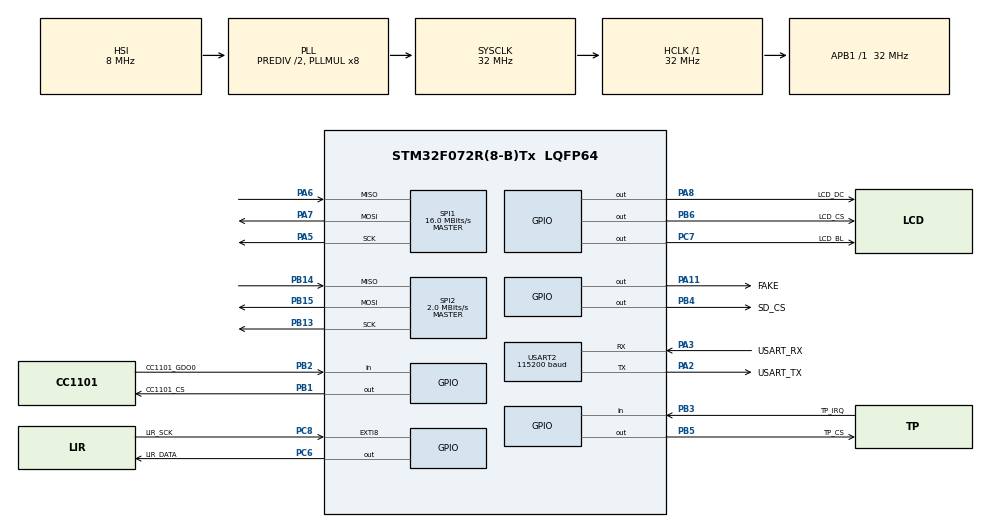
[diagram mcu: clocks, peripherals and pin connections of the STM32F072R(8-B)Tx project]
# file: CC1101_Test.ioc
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Mcu.Family=STM32F0
Mcu.Name=STM32F072R(8-B)Tx
Mcu.Package=LQFP64
NVIC.EXTI4_15_IRQn=true\:0\:0\:false\:false\:true\:true\:true
PA11.GPIO_Label=FAKE
PA11.PinState=GPIO_PIN_SET
PA11.Signal=GPIO_Output
PA13.GPIO_Label=TMS
PA13.Mode=Serial_Wire
PA13.Signal=SYS_SWDIO
PA14.GPIO_Label=TCK
PA14.Mode=Serial_Wire
PA14.Signal=SYS_SWCLK
PA2.GPIO_Label=USART_TX
PA2.GPIO_Mode=GPIO_MODE_AF_PP
PA2.GPIO_PuPd=GPIO_NOPULL
PA2.GPIO_Speed=GPIO_SPEED_FREQ_LOW
PA2.Mode=Asynchronous
PA2.Signal=USART2_TX
PA3.GPIO_Label=USART_RX
PA3.GPIO_Mode=GPIO_MODE_AF_PP
PA3.GPIO_PuPd=GPIO_NOPULL
PA3.GPIO_Speed=GPIO_SPEED_FREQ_LOW
PA3.Mode=Asynchronous
PA3.Signal=USART2_RX
PA5.Mode=Full_Duplex_Master
PA5.Signal=SPI1_SCK
PA6.Mode=Full_Duplex_Master
PA6.Signal=SPI1_MISO
PA7.Mode=Full_Duplex_Master
PA7.Signal=SPI1_MOSI
PA8.GPIO_Label=LCD_DC
PA8.Signal=GPIO_Output
PB1.GPIO_Label=CC1101_CS
PB1.PinState=GPIO_PIN_SET
PB1.Signal=GPIO_Output
PB13.Mode=Full_Duplex_Master
PB13.Signal=SPI2_SCK
PB14.Mode=Full_Duplex_Master
PB14.Signal=SPI2_MISO
PB15.Mode=Full_Duplex_Master
PB15.Signal=SPI2_MOSI
PB2.GPIO_Label=CC1101_GDO0
PB2.Signal=GPIO_Input
PB3.GPIO_Label=TP_IRQ
PB3.Signal=GPIO_Input
PB4.GPIO_Label=SD_CS
PB4.Signal=GPIO_Output
PB5.GPIO_Label=TP_CS
PB5.Signal=GPIO_Output
PB6.GPIO_Label=LCD_CS
PB6.Signal=GPIO_Output
PC14-OSC32_IN.Mode=LSE-External-Oscillator
PC14-OSC32_IN.Signal=RCC_OSC32_IN
PC15-OSC32_OUT.Mode=LSE-External-Oscillator
PC15-OSC32_OUT.Signal=RCC_OSC32_OUT
PC6.GPIO_Label=LIR_DATA
PC6.PinState=GPIO_PIN_SET
PC6.Signal=GPIO_Output
PC7.GPIO_Label=LCD_BL
PC7.Signal=GPIO_Output
PC8.GPIO_Label=LIR_SCK
PC8.GPIO_ModeDefaultEXTI=GPIO_MODE_IT_RISING
PC8.GPIO_PuPd=GPIO_PULLUP
PC8.Signal=GPXTI8
PF0-OSC_IN.Mode=HSE-External-Clock-Source
PF0-OSC_IN.Signal=RCC_OSC_IN
PF1-OSC_OUT.Signal=RCC_OSC_OUT
ProjectManager.HeapSize=0x200
ProjectManager.StackSize=0x400
ProjectManager.TargetToolchain=TrueSTUDIO
RCC.AHBFreq_Value=32000000
RCC.APB1Freq_Value=32000000
RCC.APB1TimFreq_Value=32000000
RCC.FLatency-AdvancedSettings=FLASH_LATENCY_1
RCC.HCLKFreq_Value=32000000
RCC.PLLDivider=RCC_PREDIV_DIV2
RCC.PLLMUL=RCC_PLL_MUL8
RCC.PREFETCH_ENABLE-AdvancedSettings=1
RCC.SYSCLKFreq_VALUE=32000000
RCC.SYSCLKSource=RCC_SYSCLKSOURCE_PLLCLK
SPI1.BaudRatePrescaler=SPI_BAUDRATEPRESCALER_2
SPI1.CalculateBaudRate=16.0 MBits/s
SPI1.DataSize=SPI_DATASIZE_8BIT
SPI1.Direction=SPI_DIRECTION_2LINES
SPI1.Mode=SPI_MODE_MASTER
SPI1.VirtualType=VM_MASTER
SPI2.BaudRatePrescaler=SPI_BAUDRATEPRESCALER_16
SPI2.CalculateBaudRate=2.0 MBits/s
SPI2.DataSize=SPI_DATASIZE_8BIT
SPI2.Direction=SPI_DIRECTION_2LINES
SPI2.FirstBit=SPI_FIRSTBIT_MSB
SPI2.Mode=SPI_MODE_MASTER
SPI2.NSSPMode=SPI_NSS_PULSE_DISABLE
SPI2.VirtualType=VM_MASTER
TIM1.Period=100-1
TIM1.Prescaler=32
TIM3.Period=999
TIM3.Prescaler=48
USART2.BaudRate=115200
USART2.VirtualMode=VM_ASYNC
USART2.VirtualMode-Asynchronous=VM_ASYNC
VP_TIM1_VS_ClockSourceINT.Mode=Internal
VP_TIM3_VS_ClockSourceINT.Mode=Internal
board=NUCLEO-F072RB

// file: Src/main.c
/* USER CODE BEGIN Header */
/**
  ******************************************************************************
  * @file           : main.c
  * @brief          : Main program body
  ******************************************************************************
  * @attention
  *
  * <h2><center>&copy; Copyright (c) 2020 STMicroelectronics.
  * All rights reserved.</center></h2>
  *
  * This software component is licensed by ST under BSD 3-Clause license,
  * the "License"; You may not use this file except in compliance with the
  * License. You may obtain a copy of the License at:
  *                        opensource.org/licenses/BSD-3-Clause
  *
  ******************************************************************************
  */
/* USER CODE END Header */

#include "main.h"

/* USER CODE BEGIN Includes */
#include "stdio.h"
#include "LCD.h"
#include "stdbool.h"
/* USER CODE END Includes */

SPI_HandleTypeDef hspi1;
SPI_HandleTypeDef hspi2;

TIM_HandleTypeDef htim1;
TIM_HandleTypeDef htim3;

UART_HandleTypeDef huart2;

/* USER CODE BEGIN PV */
volatile uint32_t counter = 0;
uint32_t data = 0xA0A0FF;
uint32_t cnt = 0;

/* USER CODE END PV */

void SystemClock_Config(void);
static void MX_GPIO_Init(void);
static void MX_SPI1_Init(void);
static void MX_TIM3_Init(void);
static void MX_USART2_UART_Init(void);
static void MX_SPI2_Init(void);
static void MX_TIM1_Init(void);

/* USER CODE BEGIN 0 */

int __io_putchar(int ch)
{
 uint8_t c[1];
 c[0] = ch & 0x00FF;
 HAL_UART_Transmit(&huart2, &*c, 1, 10);
 return ch;
}

int _write(int file,char *ptr, int len)
{
 int DataIdx;
 for(DataIdx= 0; DataIdx< len; DataIdx++)
 {
 __io_putchar(*ptr++);
 }
return len;
}

/* Interrupts ---------------------------------------------------------------*/
void HAL_GPIO_EXTI_Callback(uint16_t GPIO_Pin){

	(data & (0x800000>>cnt++)) ? HAL_GPIO_WritePin(LIR_DATA_GPIO_Port, LIR_DATA_Pin, GPIO_PIN_SET) : HAL_GPIO_WritePin(LIR_DATA_GPIO_Port, LIR_DATA_Pin, GPIO_PIN_RESET);
	if(cnt==25)
	{
		HAL_GPIO_WritePin(LIR_DATA_GPIO_Port, LIR_DATA_Pin, GPIO_PIN_RESET);
		cnt=0;
	}
}

void Delay_us(uint32_t us)
{
	volatile uint32_t counter = 3.2*us;
	while(counter--);
}

void tick_lir24()
{
	for(int c=0; c<=24; c++)
	{
	  FAKE_GPIO_Port->BRR = (uint32_t)FAKE_Pin;
	  counter = 16;
	  while(counter--);
	  FAKE_GPIO_Port->BSRR = (uint32_t)FAKE_Pin;
	  counter = 16;
	  while(counter--);
	}

}

/* USER CODE END 0 */

int main(void)
{

  /* MCU Configuration--------------------------------------------------------*/

  /* Reset of all peripherals, Initializes the Flash interface and the Systick. */
  HAL_Init();

  /* Configure the system clock */
  SystemClock_Config();

  /* Initialize all configured peripherals */
  MX_GPIO_Init();
  MX_SPI1_Init();
  MX_TIM3_Init();
  MX_USART2_UART_Init();
  MX_SPI2_Init();
  MX_TIM1_Init();
  /* USER CODE BEGIN 2 */
  printf("Start\r\n");
  /* USER CODE END 2 */

  /* Infinite loop */
  while (1)
  {

    /* USER CODE BEGIN 3 */
	  tick_lir24();
	  HAL_Delay(100);
  }
  /* USER CODE END 3 */
}

void SystemClock_Config(void)
{
  RCC_OscInitTypeDef RCC_OscInitStruct = {0};
  RCC_ClkInitTypeDef RCC_ClkInitStruct = {0};
  RCC_PeriphCLKInitTypeDef PeriphClkInit = {0};

  /** Initializes the CPU, AHB and APB busses clocks
  */
  RCC_OscInitStruct.OscillatorType = RCC_OSCILLATORTYPE_HSI;
  RCC_OscInitStruct.HSIState = RCC_HSI_ON;
  RCC_OscInitStruct.HSICalibrationValue = RCC_HSICALIBRATION_DEFAULT;
  RCC_OscInitStruct.PLL.PLLState = RCC_PLL_ON;
  RCC_OscInitStruct.PLL.PLLSource = RCC_PLLSOURCE_HSI;
  RCC_OscInitStruct.PLL.PLLMUL = RCC_PLL_MUL8;
  RCC_OscInitStruct.PLL.PREDIV = RCC_PREDIV_DIV2;
  if (HAL_RCC_OscConfig(&RCC_OscInitStruct) != HAL_OK)
  {
    Error_Handler();
  }
  /** Initializes the CPU, AHB and APB busses clocks
  */
  RCC_ClkInitStruct.ClockType = RCC_CLOCKTYPE_HCLK|RCC_CLOCKTYPE_SYSCLK
                              |RCC_CLOCKTYPE_PCLK1;
  RCC_ClkInitStruct.SYSCLKSource = RCC_SYSCLKSOURCE_PLLCLK;
  RCC_ClkInitStruct.AHBCLKDivider = RCC_SYSCLK_DIV1;
  RCC_ClkInitStruct.APB1CLKDivider = RCC_HCLK_DIV1;

  if (HAL_RCC_ClockConfig(&RCC_ClkInitStruct, FLASH_LATENCY_1) != HAL_OK)
  {
    Error_Handler();
  }
  PeriphClkInit.PeriphClockSelection = RCC_PERIPHCLK_USART2;
  PeriphClkInit.Usart2ClockSelection = RCC_USART2CLKSOURCE_PCLK1;
  if (HAL_RCCEx_PeriphCLKConfig(&PeriphClkInit) != HAL_OK)
  {
    Error_Handler();
  }
}

static void MX_SPI1_Init(void)
{

  /* SPI1 parameter configuration*/
  hspi1.Instance = SPI1;
  hspi1.Init.Mode = SPI_MODE_MASTER;
  hspi1.Init.Direction = SPI_DIRECTION_2LINES;
  hspi1.Init.DataSize = SPI_DATASIZE_8BIT;
  hspi1.Init.CLKPolarity = SPI_POLARITY_LOW;
  hspi1.Init.CLKPhase = SPI_PHASE_1EDGE;
  hspi1.Init.NSS = SPI_NSS_SOFT;
  hspi1.Init.BaudRatePrescaler = SPI_BAUDRATEPRESCALER_2;
  hspi1.Init.FirstBit = SPI_FIRSTBIT_MSB;
  hspi1.Init.TIMode = SPI_TIMODE_DISABLE;
  hspi1.Init.CRCCalculation = SPI_CRCCALCULATION_DISABLE;
  hspi1.Init.CRCPolynomial = 7;
  hspi1.Init.CRCLength = SPI_CRC_LENGTH_DATASIZE;
  hspi1.Init.NSSPMode = SPI_NSS_PULSE_ENABLE;
  if (HAL_SPI_Init(&hspi1) != HAL_OK)
  {
    Error_Handler();
  }

}

static void MX_SPI2_Init(void)
{

  /* SPI2 parameter configuration*/
  hspi2.Instance = SPI2;
  hspi2.Init.Mode = SPI_MODE_MASTER;
  hspi2.Init.Direction = SPI_DIRECTION_2LINES;
  hspi2.Init.DataSize = SPI_DATASIZE_8BIT;
  hspi2.Init.CLKPolarity = SPI_POLARITY_LOW;
  hspi2.Init.CLKPhase = SPI_PHASE_1EDGE;
  hspi2.Init.NSS = SPI_NSS_SOFT;
  hspi2.Init.BaudRatePrescaler = SPI_BAUDRATEPRESCALER_16;
  hspi2.Init.FirstBit = SPI_FIRSTBIT_MSB;
  hspi2.Init.TIMode = SPI_TIMODE_DISABLE;
  hspi2.Init.CRCCalculation = SPI_CRCCALCULATION_DISABLE;
  hspi2.Init.CRCPolynomial = 7;
  hspi2.Init.CRCLength = SPI_CRC_LENGTH_DATASIZE;
  hspi2.Init.NSSPMode = SPI_NSS_PULSE_DISABLE;
  if (HAL_SPI_Init(&hspi2) != HAL_OK)
  {
    Error_Handler();
  }

}

static void MX_TIM1_Init(void)
{

  TIM_ClockConfigTypeDef sClockSourceConfig = {0};
  TIM_MasterConfigTypeDef sMasterConfig = {0};

  htim1.Instance = TIM1;
  htim1.Init.Prescaler = 32;
  htim1.Init.CounterMode = TIM_COUNTERMODE_UP;
  htim1.Init.Period = 100-1;
  htim1.Init.ClockDivision = TIM_CLOCKDIVISION_DIV1;
  htim1.Init.RepetitionCounter = 0;
  htim1.Init.AutoReloadPreload = TIM_AUTORELOAD_PRELOAD_DISABLE;
  if (HAL_TIM_Base_Init(&htim1) != HAL_OK)
  {
    Error_Handler();
  }
  sClockSourceConfig.ClockSource = TIM_CLOCKSOURCE_INTERNAL;
  if (HAL_TIM_ConfigClockSource(&htim1, &sClockSourceConfig) != HAL_OK)
  {
    Error_Handler();
  }
  sMasterConfig.MasterOutputTrigger = TIM_TRGO_RESET;
  sMasterConfig.MasterSlaveMode = TIM_MASTERSLAVEMODE_DISABLE;
  if (HAL_TIMEx_MasterConfigSynchronization(&htim1, &sMasterConfig) != HAL_OK)
  {
    Error_Handler();
  }

}

static void MX_TIM3_Init(void)
{

  TIM_ClockConfigTypeDef sClockSourceConfig = {0};
  TIM_MasterConfigTypeDef sMasterConfig = {0};

  htim3.Instance = TIM3;
  htim3.Init.Prescaler = 48;
  htim3.Init.CounterMode = TIM_COUNTERMODE_UP;
  htim3.Init.Period = 999;
  htim3.Init.ClockDivision = TIM_CLOCKDIVISION_DIV1;
  htim3.Init.AutoReloadPreload = TIM_AUTORELOAD_PRELOAD_DISABLE;
  if (HAL_TIM_Base_Init(&htim3) != HAL_OK)
  {
    Error_Handler();
  }
  sClockSourceConfig.ClockSource = TIM_CLOCKSOURCE_INTERNAL;
  if (HAL_TIM_ConfigClockSource(&htim3, &sClockSourceConfig) != HAL_OK)
  {
    Error_Handler();
  }
  sMasterConfig.MasterOutputTrigger = TIM_TRGO_RESET;
  sMasterConfig.MasterSlaveMode = TIM_MASTERSLAVEMODE_DISABLE;
  if (HAL_TIMEx_MasterConfigSynchronization(&htim3, &sMasterConfig) != HAL_OK)
  {
    Error_Handler();
  }

}

static void MX_USART2_UART_Init(void)
{

  huart2.Instance = USART2;
  huart2.Init.BaudRate = 115200;
  huart2.Init.WordLength = UART_WORDLENGTH_8B;
  huart2.Init.StopBits = UART_STOPBITS_1;
  huart2.Init.Parity = UART_PARITY_NONE;
  huart2.Init.Mode = UART_MODE_TX_RX;
  huart2.Init.HwFlowCtl = UART_HWCONTROL_NONE;
  huart2.Init.OverSampling = UART_OVERSAMPLING_16;
  huart2.Init.OneBitSampling = UART_ONE_BIT_SAMPLE_DISABLE;
  huart2.AdvancedInit.AdvFeatureInit = UART_ADVFEATURE_NO_INIT;
  if (HAL_UART_Init(&huart2) != HAL_OK)
  {
    Error_Handler();
  }

}

static void MX_GPIO_Init(void)
{
  GPIO_InitTypeDef GPIO_InitStruct = {0};

  /* GPIO Ports Clock Enable */
  __HAL_RCC_GPIOC_CLK_ENABLE();
  __HAL_RCC_GPIOF_CLK_ENABLE();
  __HAL_RCC_GPIOA_CLK_ENABLE();
  __HAL_RCC_GPIOB_CLK_ENABLE();

  /*Configure GPIO pin Output Level */
  HAL_GPIO_WritePin(CC1101_CS_GPIO_Port, CC1101_CS_Pin, GPIO_PIN_SET);

  /*Configure GPIO pin Output Level */
  HAL_GPIO_WritePin(LIR_DATA_GPIO_Port, LIR_DATA_Pin, GPIO_PIN_SET);

  /*Configure GPIO pin Output Level */
  HAL_GPIO_WritePin(LCD_BL_GPIO_Port, LCD_BL_Pin, GPIO_PIN_RESET);

  /*Configure GPIO pin Output Level */
  HAL_GPIO_WritePin(LCD_DC_GPIO_Port, LCD_DC_Pin, GPIO_PIN_RESET);

  /*Configure GPIO pin Output Level */
  HAL_GPIO_WritePin(FAKE_GPIO_Port, FAKE_Pin, GPIO_PIN_SET);

  /*Configure GPIO pin Output Level */
  HAL_GPIO_WritePin(GPIOB, SD_CS_Pin|TP_CS_Pin|LCD_CS_Pin, GPIO_PIN_RESET);

  /*Configure GPIO pins : CC1101_CS_Pin SD_CS_Pin TP_CS_Pin LCD_CS_Pin */
  GPIO_InitStruct.Pin = CC1101_CS_Pin|SD_CS_Pin|TP_CS_Pin|LCD_CS_Pin;
  GPIO_InitStruct.Mode = GPIO_MODE_OUTPUT_PP;
  GPIO_InitStruct.Pull = GPIO_NOPULL;
  GPIO_InitStruct.Speed = GPIO_SPEED_FREQ_LOW;
  HAL_GPIO_Init(GPIOB, &GPIO_InitStruct);

  /*Configure GPIO pins : CC1101_GDO0_Pin TP_IRQ_Pin */
  GPIO_InitStruct.Pin = CC1101_GDO0_Pin|TP_IRQ_Pin;
  GPIO_InitStruct.Mode = GPIO_MODE_INPUT;
  GPIO_InitStruct.Pull = GPIO_NOPULL;
  HAL_GPIO_Init(GPIOB, &GPIO_InitStruct);

  /*Configure GPIO pins : LIR_DATA_Pin LCD_BL_Pin */
  GPIO_InitStruct.Pin = LIR_DATA_Pin|LCD_BL_Pin;
  GPIO_InitStruct.Mode = GPIO_MODE_OUTPUT_PP;
  GPIO_InitStruct.Pull = GPIO_NOPULL;
  GPIO_InitStruct.Speed = GPIO_SPEED_FREQ_LOW;
  HAL_GPIO_Init(GPIOC, &GPIO_InitStruct);

  /*Configure GPIO pin : LIR_SCK_Pin */
  GPIO_InitStruct.Pin = LIR_SCK_Pin;
  GPIO_InitStruct.Mode = GPIO_MODE_IT_RISING;
  GPIO_InitStruct.Pull = GPIO_PULLUP;
  HAL_GPIO_Init(LIR_SCK_GPIO_Port, &GPIO_InitStruct);

  /*Configure GPIO pins : LCD_DC_Pin FAKE_Pin */
  GPIO_InitStruct.Pin = LCD_DC_Pin|FAKE_Pin;
  GPIO_InitStruct.Mode = GPIO_MODE_OUTPUT_PP;
  GPIO_InitStruct.Pull = GPIO_NOPULL;
  GPIO_InitStruct.Speed = GPIO_SPEED_FREQ_LOW;
  HAL_GPIO_Init(GPIOA, &GPIO_InitStruct);

  /* EXTI interrupt init*/
  HAL_NVIC_SetPriority(EXTI4_15_IRQn, 0, 0);
  HAL_NVIC_EnableIRQ(EXTI4_15_IRQn);

}

void Error_Handler(void)
{
}

/************************ (C) COPYRIGHT STMicroelectronics *****END OF FILE****/
